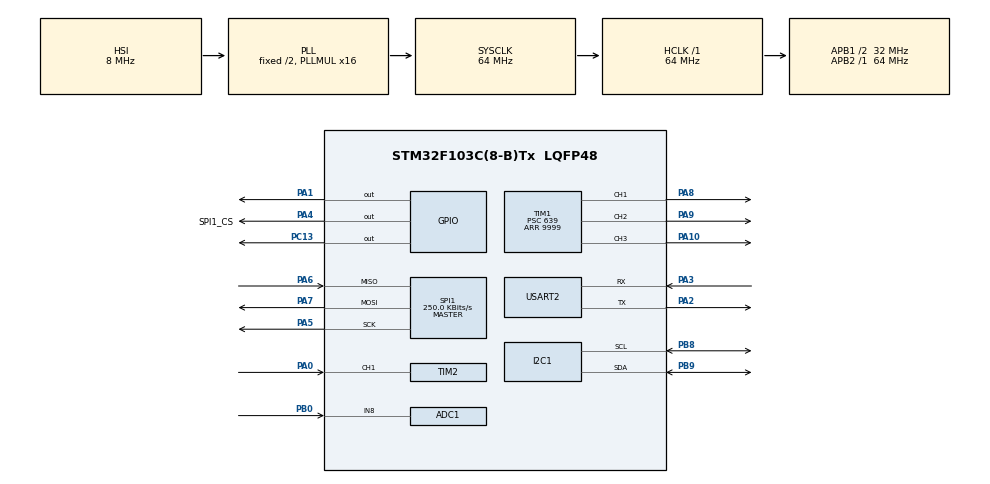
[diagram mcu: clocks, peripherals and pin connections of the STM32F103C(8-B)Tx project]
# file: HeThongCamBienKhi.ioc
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ADC1.Channel-2\#ChannelRegularConversion=ADC_CHANNEL_8
ADC1.NbrOfConversionFlag=1
ADC1.Rank-2\#ChannelRegularConversion=1
ADC1.SamplingTime-2\#ChannelRegularConversion=ADC_SAMPLETIME_239CYCLES_5
ADC1.master=1
Dma.Request0=SPI1_RX
Dma.Request1=SPI1_TX
Dma.Request2=TIM2_CH1
Dma.SPI1_RX.0.Direction=DMA_PERIPH_TO_MEMORY
Dma.SPI1_RX.0.Instance=DMA1_Channel2
Dma.SPI1_RX.0.MemDataAlignment=DMA_MDATAALIGN_BYTE
Dma.SPI1_RX.0.MemInc=DMA_MINC_ENABLE
Dma.SPI1_RX.0.Mode=DMA_NORMAL
Dma.SPI1_RX.0.PeriphDataAlignment=DMA_PDATAALIGN_BYTE
Dma.SPI1_RX.0.PeriphInc=DMA_PINC_DISABLE
Dma.SPI1_RX.0.Priority=DMA_PRIORITY_LOW
Dma.SPI1_TX.1.Direction=DMA_MEMORY_TO_PERIPH
Dma.SPI1_TX.1.Instance=DMA1_Channel3
Dma.SPI1_TX.1.MemDataAlignment=DMA_MDATAALIGN_BYTE
Dma.SPI1_TX.1.MemInc=DMA_MINC_ENABLE
Dma.SPI1_TX.1.Mode=DMA_NORMAL
Dma.SPI1_TX.1.PeriphDataAlignment=DMA_PDATAALIGN_BYTE
Dma.SPI1_TX.1.PeriphInc=DMA_PINC_DISABLE
Dma.SPI1_TX.1.Priority=DMA_PRIORITY_LOW
Dma.TIM2_CH1.2.Direction=DMA_PERIPH_TO_MEMORY
Dma.TIM2_CH1.2.Instance=DMA1_Channel5
Dma.TIM2_CH1.2.MemDataAlignment=DMA_MDATAALIGN_HALFWORD
Dma.TIM2_CH1.2.MemInc=DMA_MINC_ENABLE
Dma.TIM2_CH1.2.Mode=DMA_NORMAL
Dma.TIM2_CH1.2.PeriphDataAlignment=DMA_PDATAALIGN_HALFWORD
Dma.TIM2_CH1.2.PeriphInc=DMA_PINC_DISABLE
Dma.TIM2_CH1.2.Priority=DMA_PRIORITY_LOW
Mcu.Family=STM32F1
Mcu.Name=STM32F103C(8-B)Tx
Mcu.Package=LQFP48
NVIC.DMA1_Channel2_IRQn=true\:0\:0\:false\:false\:true\:false\:true\:true
NVIC.DMA1_Channel3_IRQn=true\:0\:0\:false\:false\:true\:false\:true\:true
NVIC.DMA1_Channel5_IRQn=true\:0\:0\:false\:false\:true\:false\:true\:true
NVIC.PriorityGroup=NVIC_PRIORITYGROUP_4
NVIC.USART2_IRQn=true\:0\:0\:false\:false\:true\:true\:true\:true
PA0-WKUP.Signal=S_TIM2_CH1_ETR
PA1.GPIO_ModeDefaultOutputPP=GPIO_MODE_OUTPUT_OD
PA1.GPIO_PuPd=GPIO_NOPULL
PA1.GPIO_Speed=GPIO_SPEED_FREQ_HIGH
PA1.PinState=GPIO_PIN_SET
PA1.Signal=GPIO_Output
PA10.Signal=S_TIM1_CH3
PA13.Mode=Serial_Wire
PA13.Signal=SYS_JTMS-SWDIO
PA14.Mode=Serial_Wire
PA14.Signal=SYS_JTCK-SWCLK
PA2.Mode=Asynchronous
PA2.Signal=USART2_TX
PA3.Mode=Asynchronous
PA3.Signal=USART2_RX
PA4.GPIO_Label=SPI1_CS
PA4.Signal=GPIO_Output
PA5.Mode=Full_Duplex_Master
PA5.Signal=SPI1_SCK
PA6.Mode=Full_Duplex_Master
PA6.Signal=SPI1_MISO
PA7.Mode=Full_Duplex_Master
PA7.Signal=SPI1_MOSI
PA8.Signal=S_TIM1_CH1
PA9.Signal=S_TIM1_CH2
PB0.Signal=ADCx_IN8
PB8.Mode=I2C
PB8.Signal=I2C1_SCL
PB9.Mode=I2C
PB9.Signal=I2C1_SDA
PC13-TAMPER-RTC.Signal=GPIO_Output
ProjectManager.HeapSize=0x200
ProjectManager.StackSize=0x400
ProjectManager.TargetToolchain=CMake
RCC.ADCPresc=RCC_ADCPCLK2_DIV6
RCC.AHBFreq_Value=64000000
RCC.APB1CLKDivider=RCC_HCLK_DIV2
RCC.APB1Freq_Value=32000000
RCC.APB1TimFreq_Value=64000000
RCC.APB2Freq_Value=64000000
RCC.APB2TimFreq_Value=64000000
RCC.HCLKFreq_Value=64000000
RCC.PLLMUL=RCC_PLL_MUL16
RCC.SYSCLKFreq_VALUE=64000000
RCC.SYSCLKSource=RCC_SYSCLKSOURCE_PLLCLK
RCC.USBFreq_Value=64000000
SH.ADCx_IN8.0=ADC1_IN8,IN8
SH.S_TIM1_CH1.0=TIM1_CH1,PWM Generation1 CH1
SH.S_TIM1_CH2.0=TIM1_CH2,PWM Generation2 CH2
SH.S_TIM1_CH3.0=TIM1_CH3,PWM Generation3 CH3
SH.S_TIM2_CH1_ETR.0=TIM2_CH1,Input_Capture1_from_TI1
SPI1.BaudRatePrescaler=SPI_BAUDRATEPRESCALER_256
SPI1.CalculateBaudRate=250.0 KBits/s
SPI1.Direction=SPI_DIRECTION_2LINES
SPI1.Mode=SPI_MODE_MASTER
SPI1.VirtualType=VM_MASTER
TIM1.Channel-PWM\ Generation1\ CH1=TIM_CHANNEL_1
TIM1.Channel-PWM\ Generation2\ CH2=TIM_CHANNEL_2
TIM1.Channel-PWM\ Generation3\ CH3=TIM_CHANNEL_3
TIM1.Period=9999
TIM1.Prescaler=639
TIM2.Channel-Input_Capture1_from_TI1=TIM_CHANNEL_1
TIM2.ICPolarity_CH1=TIM_INPUTCHANNELPOLARITY_FALLING
TIM2.Prescaler=0
TIM3.Prescaler=63
USART2.VirtualMode=VM_ASYNC
VP_FATFS_VS_Generic.Mode=User_defined
VP_TIM1_VS_ClockSourceINT.Mode=Internal
VP_TIM2_VS_ClockSourceINT.Mode=Internal
VP_TIM3_VS_ClockSourceINT.Mode=Internal
board=custom

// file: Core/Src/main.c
/* USER CODE BEGIN Header */
/**
  ******************************************************************************
  * @file           : main.c
  * @brief          : Main program body
  ******************************************************************************
  * @attention
  *
  * Copyright (c) 2025 STMicroelectronics.
  * All rights reserved.
  *
  * This software is licensed under terms that can be found in the LICENSE file
  * in the root directory of this software component.
  * If no LICENSE file comes with this software, it is provided AS-IS.
  *
  ******************************************************************************
  */
/* USER CODE END Header */
#include "main.h"
#include "fatfs.h"

/* USER CODE BEGIN Includes */
#include "stdio.h"
#include "DHT22.h"
#include "stm32f103xb.h"
#include "stm32f1xx_hal.h"
#include "string.h"
#include "RTC.h"
#include "ADS1115.h"
#include "DS18B20.h"
#include "pid.h"
#include <math.h>
#include <sys/_intsup.h>
// Ensure ADS1115.c is compiled and linked with your project

/* USER CODE END Includes */

ADC_HandleTypeDef hadc1;

I2C_HandleTypeDef hi2c1;

SPI_HandleTypeDef hspi1;
DMA_HandleTypeDef hdma_spi1_rx;
DMA_HandleTypeDef hdma_spi1_tx;

TIM_HandleTypeDef htim1;
TIM_HandleTypeDef htim2;
TIM_HandleTypeDef htim3;
DMA_HandleTypeDef hdma_tim2_ch1;

UART_HandleTypeDef huart2;

/* USER CODE BEGIN PV */

my_struct_data_captrure my_variable_capture_buf = {0};
SD_handle mySD_handle1 = {0};
SD_handle *mySD_handle = &mySD_handle1;

RTC_TimeTypeDef rtcTime;
I2C_HandleTypeDef *RTC_hi2c = &hi2c1;

ADS1115_handle my_ADS1115_1 ={0};
I2C_HandleTypeDef *ADS1115_hi2c = &hi2c1;
ADC_HandleTypeDef *ADS1115_hadc = &hadc1;

FRESULT fr;
FATFS fs;
FIL file;
UINT bw;

PID_TypeDef PIDHeat;
double InputHeat, OutputHeat, SetpointHeat;

PID_TypeDef PIDHum;
double InputHum, OutputHum, SetpointHum;

uint8_t rx;

float temperature = 0.0;
/* USER CODE END PV */

void SystemClock_Config(void);
static void MX_GPIO_Init(void);
static void MX_DMA_Init(void);
static void MX_I2C1_Init(void);
static void MX_SPI1_Init(void);
static void MX_TIM2_Init(void);
static void MX_TIM3_Init(void);
static void MX_USART2_UART_Init(void);
static void MX_ADC1_Init(void);
static void MX_TIM1_Init(void);
/* USER CODE BEGIN PFP */
void wait_to_start_mq(uint32_t wait_time_s);

void TASK_data_sensor(void);

/* USER CODE END PFP */

/* USER CODE BEGIN 0 */
int _write(int file, char *ptr, int len)
{
     HAL_UART_Transmit(&huart2, (uint8_t*)ptr, len, HAL_MAX_DELAY);
     return len;
}

static inline char* append_str(char *p, const char *s)
{
    while (*s) *p++ = *s++;
    return p;
}

static inline char* append_2d(char *p, int v)
{
    *p++ = '0' + (v / 10);
    *p++ = '0' + (v % 10);
    return p;
}

void float_to_str_2int(float v, char *buf)
{
    if (v < 0) v = 0;

    int ip = (int)v;
    int fp = (int)((v - ip) * 100000.0f + 0.5f);

    /* xử lý tràn do làm tròn */
    if (fp >= 100000) {
        fp = 0;
        ip++;
    }

    /* giới hạn 2 chữ số nguyên */
    if (ip > 99) ip = 99;

    /* XX */
    buf[0] = '0' + (ip / 10);
    buf[1] = '0' + (ip % 10);

    /* . */
    buf[2] = '.';

    /* YYYYY */
    buf[7] = '0' + (fp % 10); fp /= 10;
    buf[6] = '0' + (fp % 10); fp /= 10;
    buf[5] = '0' + (fp % 10); fp /= 10;
    buf[4] = '0' + (fp % 10); fp /= 10;
    buf[3] = '0' + (fp % 10);

    buf[8] = '\0';
}

/* USER CODE END 0 */

int main(void)
{

  /* MCU Configuration--------------------------------------------------------*/

  /* Reset of all peripherals, Initializes the Flash interface and the Systick. */
  HAL_Init();

  /* Configure the system clock */
  SystemClock_Config();

  /* Initialize all configured peripherals */
  MX_GPIO_Init();
  MX_DMA_Init();
  MX_I2C1_Init();
  MX_SPI1_Init();
  MX_TIM2_Init();
  MX_TIM3_Init();
  MX_USART2_UART_Init();
  MX_FATFS_Init();
  MX_ADC1_Init();
  MX_TIM1_Init();
  /* USER CODE BEGIN 2 */
  wait_to_start_mq(1);// đợi 5 phút cho các task khác khởi động xong trước khi mount sd card
  HAL_ADCEx_Calibration_Start(&hadc1);

  fr = f_mount(&fs, "", 0);   // Mount gọi USER_initialize()
  if (fr != FR_OK) {
	  printf("Mount failed: %d\n", fr);
	  Error_Handler();
  }

  if(ADS1115_init(&my_ADS1115_1, ADS1115_ADRR_ADS1115_GND, ADS1115_A0) ==3) printf("using FIR to reduce noise\r\n");
  if(ADS1115_init(&my_ADS1115_1, ADS1115_ADRR_ADS1115_GND, ADS1115_A1) ==3) printf("using FIR to reduce noise\r\n");
  if(ADS1115_init(&my_ADS1115_1, ADS1115_ADRR_ADS1115_GND, ADS1115_A2) ==3) printf("using FIR to reduce noise\r\n");
  if(ADS1115_init(&my_ADS1115_1, ADS1115_ADRR_ADS1115_GND, ADS1115_A3) ==3) printf("using FIR to reduce noise\r\n");
  if(ADS1115_init(&my_ADS1115_1, ADS1115_ADRR_ADS1115_VCC, ADS1115_A0) ==3) printf("using FIR to reduce noise\r\n");
  if(ADS1115_init(&my_ADS1115_1, ADS1115_ADRR_ADS1115_VCC, ADS1115_A1) ==3) printf("using FIR to reduce noise\r\n");
  if(ADS1115_init(&my_ADS1115_1, ADS1115_ADRR_ADS1115_VCC, ADS1115_A2) ==3) printf("using FIR to reduce noise\r\n");
  if(ADS1115_init(&my_ADS1115_1, ADS1115_ADRR_ADS1115_VCC, ADS1115_A3) ==3) printf("using FIR to reduce noise\r\n");
  DS18B20_init();

  // Mở file 1 lần
  fr = f_open(&file, "data.csv", FA_OPEN_ALWAYS | FA_WRITE);
  if(fr != FR_OK){
      printf("Open file failed: %d\n", fr);
  }

  // Đưa con trỏ ghi xuống cuối file
  fr = f_lseek(&file, f_size(&file));
  if(fr != FR_OK){
      printf("Seek failed: %d\n", fr);
      f_close(&file);
  }
  // Ghi file
  const char header[] = "s,m,h,date,month,year,temp,hum,rs/r0mq3,rs/r0mq4,rs/r0mq5,rs/r0mq6,rs/r0mq7,rs/r0mq8,rs/r0mq9,rs/r0mq135,tempW\n";  // 9 ký tự, có newline
  fr = f_write(&file, header, strlen(header), &bw);  // strlen(header) = 9
  if(fr != FR_OK || bw != strlen(header)){
      printf("Write failed\n");
  }
  f_sync(&file);

  SetpointHeat = 40.0;
  PID(&PIDHeat, &InputHeat, &OutputHeat, &SetpointHeat, 0.3805, 0.0015, 3,_PID_P_ON_E, _PID_CD_DIRECT);
  PID_SetMode(&PIDHeat, _PID_MODE_AUTOMATIC);
  PID_SetSampleTime(&PIDHeat, 2000);
  PID_SetOutputLimits(&PIDHeat, 0, 1);

  SetpointHum = 65.0;
  PID(&PIDHum, &InputHum, &OutputHum, &SetpointHum, 0.05,0.0034 , 2.5, _PID_P_ON_E, _PID_CD_REVERSE); //0.3,0.008 , 3
  PID_SetMode(&PIDHum, _PID_MODE_AUTOMATIC);
  PID_SetSampleTime(&PIDHum, 3000);
  PID_SetOutputLimits(&PIDHum, 0, 1);
  HAL_TIM_PWM_Start(&htim1, TIM_CHANNEL_1); //heat
  HAL_TIM_PWM_Start(&htim1, TIM_CHANNEL_2); //cold
  HAL_TIM_PWM_Start(&htim1, TIM_CHANNEL_3); //air pump
  int is_first = 1;
  uint32_t roottime = 0;
  uint8_t is_on_pump = 0;
  uint8_t is_on_hum = 0;
  HAL_UART_Receive_IT(&huart2, &rx, 1);

  /* USER CODE END 2 */

  /* Infinite loop */
  /* USER CODE BEGIN WHILE */
  while (1)
  {
    TASK_data_sensor();

    if(DS18B20_start_conversion(&temperature)) continue;

////////////////////////////////////////////////////////////////////////////////////////////////////////////

      char bufHeat[10];
      char bufHum[10];
      InputHeat = (double)temperature;
      PID_Compute(&PIDHeat);
      __HAL_TIM_SET_COMPARE(&htim1, TIM_CHANNEL_1, (uint32_t)(OutputHeat * 9999));

      InputHum = (double)my_variable_capture_buf.sensor_data.humidity;
      PID_Compute(&PIDHum);
      __HAL_TIM_SET_COMPARE(&htim1, TIM_CHANNEL_2, (uint32_t)(OutputHum * 9999));

      float_to_str_2int(my_variable_capture_buf.sensor_data.humidity, bufHum);
      float_to_str_2int(temperature, bufHeat);
      printf("PMW Heat %lu, PMW Cold %lu, Temp %s C, Hum %s %%\r\n", (uint32_t)(OutputHeat * 9999), (uint32_t)(OutputHum * 9999), bufHeat, bufHum);

      if(rx=='a') {
        is_on_pump? (is_on_pump = 0): (is_on_pump = 1);
        rx = 0;
        fr = f_write(&file, "pump start\n",  strlen("pump start\n"), &bw);
        if(fr != FR_OK || bw !=  strlen("pump start\n")){
            printf("Write failed\n");
        }
        f_sync(&file);
      }
      if(rx=='b') {
        rx = 0;
        fr = f_write(&file, "start\n",  strlen("start\n"), &bw);
        if(fr != FR_OK || bw !=  strlen("start\n")){
            printf("Write failed\n");
        }
        f_sync(&file);
      }

      if(is_on_pump){
          __HAL_TIM_SET_COMPARE(&htim1, TIM_CHANNEL_3, (uint32_t)9999);
      }
      else {
          __HAL_TIM_SET_COMPARE(&htim1, TIM_CHANNEL_3, (uint32_t)0);
      }

//////////////////////////////////////////////////////////////////////////////////////////////////////
      // if(rx=='b') {
      //   is_on? (is_on = 0): (is_on = 1);
      //   rx = 0;
      // }

      // if(is_on) __HAL_TIM_SET_COMPARE(&htim1, TIM_CHANNEL_2, 9999);
      // else {
      //   __HAL_TIM_SET_COMPARE(&htim1, TIM_CHANNEL_2, 0);
      //   float_to_str_2int(temperature, buf);
      //   printf("PMW %lu, temp %s\r\n", (uint32_t)(OutputHeat * 9999),buf);
      // }

      // if(is_first){
      //     is_first = 0;
      //     if(RTC_read(&rtcTime) != 0) printf("RTC read error\r\n");
      //     roottime = rtcTime.seconds + rtcTime.minutes*60 + rtcTime.hours*3600;
      //     continue;
      // }

      // if(RTC_read(&rtcTime) != 0) printf("RTC read error\r\n");

      // my_func_start_get_data_DHT22(&my_variable_capture_buf);

      // float_to_str_2int(my_variable_capture_buf.sensor_data.humidity, buf);
      // uint32_t time = rtcTime.seconds + rtcTime.minutes*60 + rtcTime.hours*3600 - roottime;
      // printf("%u,%s\n",time,buf);
////////////////////////////////////////////////////////////////////////////////////
    DS18B20_delay_s(1);
    /* USER CODE END WHILE */

  }
}

void SystemClock_Config(void)
{
  RCC_OscInitTypeDef RCC_OscInitStruct = {0};
  RCC_ClkInitTypeDef RCC_ClkInitStruct = {0};
  RCC_PeriphCLKInitTypeDef PeriphClkInit = {0};

  /** Initializes the RCC Oscillators according to the specified parameters
  * in the RCC_OscInitTypeDef structure.
  */
  RCC_OscInitStruct.OscillatorType = RCC_OSCILLATORTYPE_HSI;
  RCC_OscInitStruct.HSIState = RCC_HSI_ON;
  RCC_OscInitStruct.HSICalibrationValue = RCC_HSICALIBRATION_DEFAULT;
  RCC_OscInitStruct.PLL.PLLState = RCC_PLL_ON;
  RCC_OscInitStruct.PLL.PLLSource = RCC_PLLSOURCE_HSI_DIV2;
  RCC_OscInitStruct.PLL.PLLMUL = RCC_PLL_MUL16;
  if (HAL_RCC_OscConfig(&RCC_OscInitStruct) != HAL_OK)
  {
    Error_Handler();
  }

  /** Initializes the CPU, AHB and APB buses clocks
  */
  RCC_ClkInitStruct.ClockType = RCC_CLOCKTYPE_HCLK|RCC_CLOCKTYPE_SYSCLK
                              |RCC_CLOCKTYPE_PCLK1|RCC_CLOCKTYPE_PCLK2;
  RCC_ClkInitStruct.SYSCLKSource = RCC_SYSCLKSOURCE_PLLCLK;
  RCC_ClkInitStruct.AHBCLKDivider = RCC_SYSCLK_DIV1;
  RCC_ClkInitStruct.APB1CLKDivider = RCC_HCLK_DIV2;
  RCC_ClkInitStruct.APB2CLKDivider = RCC_HCLK_DIV1;

  if (HAL_RCC_ClockConfig(&RCC_ClkInitStruct, FLASH_LATENCY_2) != HAL_OK)
  {
    Error_Handler();
  }
  PeriphClkInit.PeriphClockSelection = RCC_PERIPHCLK_ADC;
  PeriphClkInit.AdcClockSelection = RCC_ADCPCLK2_DIV6;
  if (HAL_RCCEx_PeriphCLKConfig(&PeriphClkInit) != HAL_OK)
  {
    Error_Handler();
  }
}

static void MX_ADC1_Init(void)
{

  ADC_ChannelConfTypeDef sConfig = {0};

  /** Common config
  */
  hadc1.Instance = ADC1;
  hadc1.Init.ScanConvMode = ADC_SCAN_DISABLE;
  hadc1.Init.ContinuousConvMode = DISABLE;
  hadc1.Init.DiscontinuousConvMode = DISABLE;
  hadc1.Init.ExternalTrigConv = ADC_SOFTWARE_START;
  hadc1.Init.DataAlign = ADC_DATAALIGN_RIGHT;
  hadc1.Init.NbrOfConversion = 1;
  if (HAL_ADC_Init(&hadc1) != HAL_OK)
  {
    Error_Handler();
  }

  /** Configure Regular Channel
  */
  sConfig.Channel = ADC_CHANNEL_8;
  sConfig.Rank = ADC_REGULAR_RANK_1;
  sConfig.SamplingTime = ADC_SAMPLETIME_239CYCLES_5;
  if (HAL_ADC_ConfigChannel(&hadc1, &sConfig) != HAL_OK)
  {
    Error_Handler();
  }

}

static void MX_I2C1_Init(void)
{

  hi2c1.Instance = I2C1;
  hi2c1.Init.ClockSpeed = 100000;
  hi2c1.Init.DutyCycle = I2C_DUTYCYCLE_2;
  hi2c1.Init.OwnAddress1 = 0;
  hi2c1.Init.AddressingMode = I2C_ADDRESSINGMODE_7BIT;
  hi2c1.Init.DualAddressMode = I2C_DUALADDRESS_DISABLE;
  hi2c1.Init.OwnAddress2 = 0;
  hi2c1.Init.GeneralCallMode = I2C_GENERALCALL_DISABLE;
  hi2c1.Init.NoStretchMode = I2C_NOSTRETCH_DISABLE;
  if (HAL_I2C_Init(&hi2c1) != HAL_OK)
  {
    Error_Handler();
  }

}

static void MX_SPI1_Init(void)
{

  /* SPI1 parameter configuration*/
  hspi1.Instance = SPI1;
  hspi1.Init.Mode = SPI_MODE_MASTER;
  hspi1.Init.Direction = SPI_DIRECTION_2LINES;
  hspi1.Init.DataSize = SPI_DATASIZE_8BIT;
  hspi1.Init.CLKPolarity = SPI_POLARITY_LOW;
  hspi1.Init.CLKPhase = SPI_PHASE_1EDGE;
  hspi1.Init.NSS = SPI_NSS_SOFT;
  hspi1.Init.BaudRatePrescaler = SPI_BAUDRATEPRESCALER_256;
  hspi1.Init.FirstBit = SPI_FIRSTBIT_MSB;
  hspi1.Init.TIMode = SPI_TIMODE_DISABLE;
  hspi1.Init.CRCCalculation = SPI_CRCCALCULATION_DISABLE;
  hspi1.Init.CRCPolynomial = 10;
  if (HAL_SPI_Init(&hspi1) != HAL_OK)
  {
    Error_Handler();
  }

}

static void MX_TIM1_Init(void)
{

  TIM_ClockConfigTypeDef sClockSourceConfig = {0};
  TIM_MasterConfigTypeDef sMasterConfig = {0};
  TIM_OC_InitTypeDef sConfigOC = {0};
  TIM_BreakDeadTimeConfigTypeDef sBreakDeadTimeConfig = {0};

  htim1.Instance = TIM1;
  htim1.Init.Prescaler = 639;
  htim1.Init.CounterMode = TIM_COUNTERMODE_UP;
  htim1.Init.Period = 9999;
  htim1.Init.ClockDivision = TIM_CLOCKDIVISION_DIV1;
  htim1.Init.RepetitionCounter = 0;
  htim1.Init.AutoReloadPreload = TIM_AUTORELOAD_PRELOAD_DISABLE;
  if (HAL_TIM_Base_Init(&htim1) != HAL_OK)
  {
    Error_Handler();
  }
  sClockSourceConfig.ClockSource = TIM_CLOCKSOURCE_INTERNAL;
  if (HAL_TIM_ConfigClockSource(&htim1, &sClockSourceConfig) != HAL_OK)
  {
    Error_Handler();
  }
  if (HAL_TIM_PWM_Init(&htim1) != HAL_OK)
  {
    Error_Handler();
  }
  sMasterConfig.MasterOutputTrigger = TIM_TRGO_RESET;
  sMasterConfig.MasterSlaveMode = TIM_MASTERSLAVEMODE_DISABLE;
  if (HAL_TIMEx_MasterConfigSynchronization(&htim1, &sMasterConfig) != HAL_OK)
  {
    Error_Handler();
  }
  sConfigOC.OCMode = TIM_OCMODE_PWM1;
  sConfigOC.Pulse = 0;
  sConfigOC.OCPolarity = TIM_OCPOLARITY_HIGH;
  sConfigOC.OCNPolarity = TIM_OCNPOLARITY_HIGH;
  sConfigOC.OCFastMode = TIM_OCFAST_DISABLE;
  sConfigOC.OCIdleState = TIM_OCIDLESTATE_RESET;
  sConfigOC.OCNIdleState = TIM_OCNIDLESTATE_RESET;
  if (HAL_TIM_PWM_ConfigChannel(&htim1, &sConfigOC, TIM_CHANNEL_1) != HAL_OK)
  {
    Error_Handler();
  }
  if (HAL_TIM_PWM_ConfigChannel(&htim1, &sConfigOC, TIM_CHANNEL_2) != HAL_OK)
  {
    Error_Handler();
  }
  if (HAL_TIM_PWM_ConfigChannel(&htim1, &sConfigOC, TIM_CHANNEL_3) != HAL_OK)
  {
    Error_Handler();
  }
  sBreakDeadTimeConfig.OffStateRunMode = TIM_OSSR_DISABLE;
  sBreakDeadTimeConfig.OffStateIDLEMode = TIM_OSSI_DISABLE;
  sBreakDeadTimeConfig.LockLevel = TIM_LOCKLEVEL_OFF;
  sBreakDeadTimeConfig.DeadTime = 0;
  sBreakDeadTimeConfig.BreakState = TIM_BREAK_DISABLE;
  sBreakDeadTimeConfig.BreakPolarity = TIM_BREAKPOLARITY_HIGH;
  sBreakDeadTimeConfig.AutomaticOutput = TIM_AUTOMATICOUTPUT_DISABLE;
  if (HAL_TIMEx_ConfigBreakDeadTime(&htim1, &sBreakDeadTimeConfig) != HAL_OK)
  {
    Error_Handler();
  }
  HAL_TIM_MspPostInit(&htim1);

}

static void MX_TIM2_Init(void)
{

  TIM_ClockConfigTypeDef sClockSourceConfig = {0};
  TIM_MasterConfigTypeDef sMasterConfig = {0};
  TIM_IC_InitTypeDef sConfigIC = {0};

  htim2.Instance = TIM2;
  htim2.Init.Prescaler = 0;
  htim2.Init.CounterMode = TIM_COUNTERMODE_UP;
  htim2.Init.Period = 65535;
  htim2.Init.ClockDivision = TIM_CLOCKDIVISION_DIV1;
  htim2.Init.AutoReloadPreload = TIM_AUTORELOAD_PRELOAD_DISABLE;
  if (HAL_TIM_Base_Init(&htim2) != HAL_OK)
  {
    Error_Handler();
  }
  sClockSourceConfig.ClockSource = TIM_CLOCKSOURCE_INTERNAL;
  if (HAL_TIM_ConfigClockSource(&htim2, &sClockSourceConfig) != HAL_OK)
  {
    Error_Handler();
  }
  if (HAL_TIM_IC_Init(&htim2) != HAL_OK)
  {
    Error_Handler();
  }
  sMasterConfig.MasterOutputTrigger = TIM_TRGO_RESET;
  sMasterConfig.MasterSlaveMode = TIM_MASTERSLAVEMODE_DISABLE;
  if (HAL_TIMEx_MasterConfigSynchronization(&htim2, &sMasterConfig) != HAL_OK)
  {
    Error_Handler();
  }
  sConfigIC.ICPolarity = TIM_INPUTCHANNELPOLARITY_FALLING;
  sConfigIC.ICSelection = TIM_ICSELECTION_DIRECTTI;
  sConfigIC.ICPrescaler = TIM_ICPSC_DIV1;
  sConfigIC.ICFilter = 0;
  if (HAL_TIM_IC_ConfigChannel(&htim2, &sConfigIC, TIM_CHANNEL_1) != HAL_OK)
  {
    Error_Handler();
  }

}

static void MX_TIM3_Init(void)
{

  TIM_ClockConfigTypeDef sClockSourceConfig = {0};
  TIM_MasterConfigTypeDef sMasterConfig = {0};

  htim3.Instance = TIM3;
  htim3.Init.Prescaler = 63;
  htim3.Init.CounterMode = TIM_COUNTERMODE_UP;
  htim3.Init.Period = 65535;
  htim3.Init.ClockDivision = TIM_CLOCKDIVISION_DIV1;
  htim3.Init.AutoReloadPreload = TIM_AUTORELOAD_PRELOAD_DISABLE;
  if (HAL_TIM_Base_Init(&htim3) != HAL_OK)
  {
    Error_Handler();
  }
  sClockSourceConfig.ClockSource = TIM_CLOCKSOURCE_INTERNAL;
  if (HAL_TIM_ConfigClockSource(&htim3, &sClockSourceConfig) != HAL_OK)
  {
    Error_Handler();
  }
  sMasterConfig.MasterOutputTrigger = TIM_TRGO_RESET;
  sMasterConfig.MasterSlaveMode = TIM_MASTERSLAVEMODE_DISABLE;
  if (HAL_TIMEx_MasterConfigSynchronization(&htim3, &sMasterConfig) != HAL_OK)
  {
    Error_Handler();
  }

}

static void MX_USART2_UART_Init(void)
{

  huart2.Instance = USART2;
  huart2.Init.BaudRate = 115200;
  huart2.Init.WordLength = UART_WORDLENGTH_8B;
  huart2.Init.StopBits = UART_STOPBITS_1;
  huart2.Init.Parity = UART_PARITY_NONE;
  huart2.Init.Mode = UART_MODE_TX_RX;
  huart2.Init.HwFlowCtl = UART_HWCONTROL_NONE;
  huart2.Init.OverSampling = UART_OVERSAMPLING_16;
  if (HAL_UART_Init(&huart2) != HAL_OK)
  {
    Error_Handler();
  }

}

static void MX_DMA_Init(void)
{

  /* DMA controller clock enable */
  __HAL_RCC_DMA1_CLK_ENABLE();

  /* DMA interrupt init */
  /* DMA1_Channel2_IRQn interrupt configuration */
  HAL_NVIC_SetPriority(DMA1_Channel2_IRQn, 0, 0);
  HAL_NVIC_EnableIRQ(DMA1_Channel2_IRQn);
  /* DMA1_Channel3_IRQn interrupt configuration */
  HAL_NVIC_SetPriority(DMA1_Channel3_IRQn, 0, 0);
  HAL_NVIC_EnableIRQ(DMA1_Channel3_IRQn);
  /* DMA1_Channel5_IRQn interrupt configuration */
  HAL_NVIC_SetPriority(DMA1_Channel5_IRQn, 0, 0);
  HAL_NVIC_EnableIRQ(DMA1_Channel5_IRQn);

}

static void MX_GPIO_Init(void)
{
  GPIO_InitTypeDef GPIO_InitStruct = {0};

  /* GPIO Ports Clock Enable */
  __HAL_RCC_GPIOC_CLK_ENABLE();
  __HAL_RCC_GPIOA_CLK_ENABLE();
  __HAL_RCC_GPIOB_CLK_ENABLE();

  /*Configure GPIO pin Output Level */
  HAL_GPIO_WritePin(GPIOC, GPIO_PIN_13, GPIO_PIN_RESET);

  /*Configure GPIO pin Output Level */
  HAL_GPIO_WritePin(GPIOA, GPIO_PIN_1, GPIO_PIN_SET);

  /*Configure GPIO pin Output Level */
  HAL_GPIO_WritePin(SPI1_CS_GPIO_Port, SPI1_CS_Pin, GPIO_PIN_RESET);

  /*Configure GPIO pin : PC13 */
  GPIO_InitStruct.Pin = GPIO_PIN_13;
  GPIO_InitStruct.Mode = GPIO_MODE_OUTPUT_PP;
  GPIO_InitStruct.Pull = GPIO_NOPULL;
  GPIO_InitStruct.Speed = GPIO_SPEED_FREQ_LOW;
  HAL_GPIO_Init(GPIOC, &GPIO_InitStruct);

  /*Configure GPIO pin : PA1 */
  GPIO_InitStruct.Pin = GPIO_PIN_1;
  GPIO_InitStruct.Mode = GPIO_MODE_OUTPUT_OD;
  GPIO_InitStruct.Pull = GPIO_NOPULL;
  GPIO_InitStruct.Speed = GPIO_SPEED_FREQ_HIGH;
  HAL_GPIO_Init(GPIOA, &GPIO_InitStruct);

  /*Configure GPIO pin : SPI1_CS_Pin */
  GPIO_InitStruct.Pin = SPI1_CS_Pin;
  GPIO_InitStruct.Mode = GPIO_MODE_OUTPUT_PP;
  GPIO_InitStruct.Pull = GPIO_NOPULL;
  GPIO_InitStruct.Speed = GPIO_SPEED_FREQ_LOW;
  HAL_GPIO_Init(SPI1_CS_GPIO_Port, &GPIO_InitStruct);

}

/* USER CODE BEGIN 4 */
void wait_to_start_mq(uint32_t wait_time_s){

    do{
      HAL_Delay(1000);
      printf("wait to start mq time remaining : %u s\n", wait_time_s);
    }while (--wait_time_s);
}

  void HAL_UART_RxCpltCallback(UART_HandleTypeDef *huart)
{
    if (huart->Instance == USART2)
    {
        // xử lý dữ liệu rx ở đây

        // nhận tiếp byte tiếp theo
        HAL_UART_Receive_IT(&huart2, &rx, 1);
    }
}

void HAL_TIM_IC_CaptureCallback(TIM_HandleTypeDef *htim)
{
     if (htim->Instance == TIM2) {
          my_variable_capture_buf.is_data_ready = 1;
          HAL_TIM_IC_Stop_DMA(&htim2, TIM_CHANNEL_1);
     }
}
void HAL_SPI_TxCpltCallback(SPI_HandleTypeDef *hspi){
	if(hspi->Instance == SPI1) {
		// Dữ liệu TX đã xong
		mySD_handle1.is_spi_tx_ready = 1;
	}
}
void HAL_SPI_TxRxCpltCallback(SPI_HandleTypeDef *hspi)
{
    if (hspi->Instance == SPI1) {
        // Bật cờ RX vì quá trình TransmitReceive đã hoàn tất cả việc gửi và nhận
        mySD_handle1.is_spi_rx_ready = 1;
    }
}

void TASK_data_sensor(void){
    // Đọc dữ liệu cảm biến khác và xử lý nếu cần
    //DHT22
    ////////////////////////////////////////////////////////////////////////////////////////////
    my_func_start_get_data_DHT22(&my_variable_capture_buf);

//		char temp_str[6];
//		char hum_str[6];
//		float_to_str_xx_xx(my_variable_capture_buf.sensor_data.temperature, temp_str);
//		float_to_str_xx_xx(my_variable_capture_buf.sensor_data.humidity, hum_str);
//		printf("data:%s,%s\n",temp_str,hum_str);

    //MQ data
    ////////////////////////////////////////////////////////////////////////////////////////////
    if(ADS1115_getADC(&my_ADS1115_1, ADS1115_ADRR_ADS1115_GND, ADS1115_A0)!=0) printf("Error reading ADC GND A0\r\n");
    HAL_Delay(100);
    if(ADS1115_getADC(&my_ADS1115_1, ADS1115_ADRR_ADS1115_GND, ADS1115_A1)!=0) printf("Error reading ADC GND A1\r\n");
    HAL_Delay(100);
    if(ADS1115_getADC(&my_ADS1115_1, ADS1115_ADRR_ADS1115_GND, ADS1115_A2)!=0) printf("Error reading ADC GND A2\r\n");
    HAL_Delay(100);
    if(ADS1115_getADC(&my_ADS1115_1, ADS1115_ADRR_ADS1115_GND, ADS1115_A3)!=0) printf("Error reading ADC GND A3\r\n");
    HAL_Delay(100);
    if(ADS1115_getADC(&my_ADS1115_1, ADS1115_ADRR_ADS1115_VCC, ADS1115_A0)!=0) printf("Error reading ADC VCC A0\r\n");
    HAL_Delay(100);
    if(ADS1115_getADC(&my_ADS1115_1, ADS1115_ADRR_ADS1115_VCC, ADS1115_A1)!=0) printf("Error reading ADC VCC A1\r\n");
    HAL_Delay(100);
    if(ADS1115_getADC(&my_ADS1115_1, ADS1115_ADRR_ADS1115_VCC, ADS1115_A2)!=0) printf("Error reading ADC VCC A2\r\n");
    HAL_Delay(100);
    if(ADS1115_getADC(&my_ADS1115_1, ADS1115_ADRR_ADS1115_VCC, ADS1115_A3)!=0) printf("Error reading ADC VCC A3\r\n");
    HAL_Delay(100);

		//RTC data
    ////////////////////////////////////////////////////////////////////////////////////////////
    if(RTC_read(&rtcTime) != 0) printf("RTC read error\r\n");

    // chuẩn bị ghi dữ liệu
    char buff[254];
    char s[10];
    char *p = buff;

    /* Time: SS,MM,HH,DD,MM,YYYY */
    p = append_2d(p, rtcTime.seconds); *p++ = ',';
    p = append_2d(p, rtcTime.minutes); *p++ = ',';
    p = append_2d(p, rtcTime.hours);   *p++ = ',';
    p = append_2d(p, rtcTime.date);    *p++ = ',';
    p = append_2d(p, rtcTime.month);   *p++ = ',';

    *p++ = '2'; *p++ = '0';
    p = append_2d(p, rtcTime.year);
    *p++ = ',';

    /* Float data */
    float_to_str_2int(my_variable_capture_buf.sensor_data.temperature, s);
    p = append_str(p, s); *p++ = ',';

    float_to_str_2int(my_variable_capture_buf.sensor_data.humidity, s);
    p = append_str(p, s); *p++ = ',';

    float_to_str_2int(my_ADS1115_1.GND.A0.Rs_R0, s);
    p = append_str(p, s); *p++ = ',';

    float_to_str_2int(my_ADS1115_1.GND.A1.Rs_R0, s);
    p = append_str(p, s); *p++ = ',';

    float_to_str_2int(my_ADS1115_1.GND.A2.Rs_R0, s);
    p = append_str(p, s); *p++ = ',';

    float_to_str_2int(my_ADS1115_1.GND.A3.Rs_R0, s);
    p = append_str(p, s); *p++ = ',';

    float_to_str_2int(my_ADS1115_1.VCC.A0.Rs_R0, s);
    p = append_str(p, s); *p++ = ',';

    float_to_str_2int(my_ADS1115_1.VCC.A1.Rs_R0, s);
    p = append_str(p, s); *p++ = ',';

    float_to_str_2int(my_ADS1115_1.VCC.A2.Rs_R0, s);
    p = append_str(p, s); *p++ = ',';

    float_to_str_2int(my_ADS1115_1.VCC.A3.Rs_R0, s);
    p = append_str(p, s); *p++ = ',';

    float_to_str_2int(temperature, s);
    p = append_str(p, s);

    *p++ = '\n';
    *p = '\0';

    //ghi dữ liệu

    fr = f_write(&file, buff,  strlen(buff), &bw);
        if(fr != FR_OK || bw !=  strlen(buff)){
            printf("Write failed\n");
            return;
        }
        f_sync(&file);
        printf("%s",buff);

    /* Theo dõi stack: Bật configUSE_TRACE_FACILITY=1 và INCLUDE_uxTaskGetStackHighWaterMark=1 trong FreeRTOSConfig.h */

   // UBaseType_t free_words = uxTaskGetStackHighWaterMark(NULL);
   // printf("Stack free in TASK_data_sensor (words): %lu\n", free_words);

  }

/* USER CODE END 4 */

void Error_Handler(void)
{
  __disable_irq();
  while (1)
  {
  }
}
